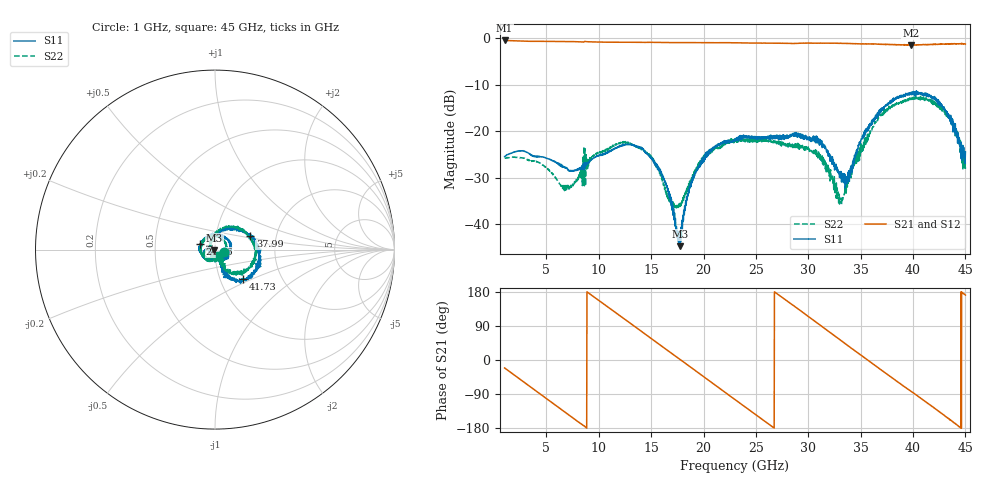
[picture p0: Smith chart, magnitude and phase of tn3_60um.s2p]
!Keysight Technologies,N5247B,MY61255062,A.19.80.06
!Date: Thursday, May 21, 2026 12:28:50
!Correction: S11(Cdelta 2-Port  )
!S21(Cdelta 2-Port  )
!S12(Cdelta 2-Port  )
!S22(Cdelta 2-Port  )
!S2P File: Measurements: S11, S21, S12, S22:
# Hz S  dB  R 50
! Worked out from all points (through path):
!   1601 points, 1 GHz to 45 GHz, reference 50 ohm
!   highest |S21| = -0.47 dB at 1 GHz (marker M1); lowest = -1.5 dB at 39.77 GHz (marker M2)
!   group delay of S21, straight-line fit = 55.9 ps
!   lowest |S11| = -44.8 dB at 17.72 GHz (marker M3), VSWR 1.01, Z = 49.6 - j0.379 ohm
!   |S11| at or under -10 dB: start of sweep to end of sweep
!   |S22| runs from -36.6 to -12.5 dB; largest |S21 - S12| = 0.015
!   S11 on the Smith chart (normalised r, x): 1 GHz: 1.11, -0.04; 24.46 GHz: 0.85, +0.05; 37.99 GHz: 1.47, +0.23; 41.73 GHz: 1.28, -0.45; 45 GHz: 1.12, -0.05
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1e9  -25.46 -17.2  -0.47 -21.0  -0.47 -21.0  -25.79 -17.5
4.63e9  -25.55 -96.9  -0.65 -94.4  -0.66 -94.4  -27.26 -94.5
6.6925e9  -27.72 -114.9  -0.69 -136.1  -0.69 -136.1  -32.01 -95.0
8.3425e9  -27.72 -105.6  -0.75 -169.6  -0.76 -169.6  -30.00 -81.2
1.024e10  -25.01 -115.1  -0.83 152.3  -0.84 152.2  -24.26 -97.8
1.2385e10  -23.07 -136.7  -0.85 109.4  -0.86 109.3  -22.34 -128.3
1.5685e10  -27.72 171.9  -0.89 42.9  -0.90 42.9  -28.27 176.1
1.772e10  -44.76 -138.6  -0.93 2.1  -0.93 2.0  -36.24 -134.6
1.9535e10  -27.87 -93.2  -0.91 -34.5  -0.92 -34.5  -26.75 -108.2
2.135e10  -22.94 -128.4  -0.95 -71.0  -0.96 -71.1  -23.49 -142.7
2.3e10  -21.85 -165.1  -0.97 -104.5  -0.97 -104.5  -22.21 -170.0
2.44575e10  -21.14 159.0  -1.02 -133.8  -1.03 -133.9  -21.61 156.4
2.72625e10  -21.35 75.6  -1.07 169.9  -1.07 169.7  -22.72 83.0
3.03425e10  -22.14 -17.4  -1.04 107.8  -1.04 107.7  -24.23 -7.2
3.32025e10  -29.42 -139.7  -1.08 49.6  -1.10 49.6  -34.15 -145.7
3.54575e10  -20.42 80.8  -1.23 4.2  -1.23 4.2  -21.39 94.8
3.7685e10  -13.96 27.5  -1.36 -40.7  -1.29 -40.7  -14.63 44.3
3.79875e10  -13.52 20.7  -1.34 -46.8  -1.37 -46.7  -14.76 33.9
3.9775e10  -12.06 -12.5  -1.51 -82.2  -1.45 -82.2  -13.11 3.3
4.17275e10  -12.85 -46.6  -1.32 -120.7  -1.35 -121.0  -13.84 -35.0
4.3515e10  -16.68 -72.0  -1.22 -156.9  -1.24 -157.1  -17.62 -63.1
4.5e10  -24.42 -23.5  -1.25 171.3  -1.22 171.8  -28.11 -55.8
